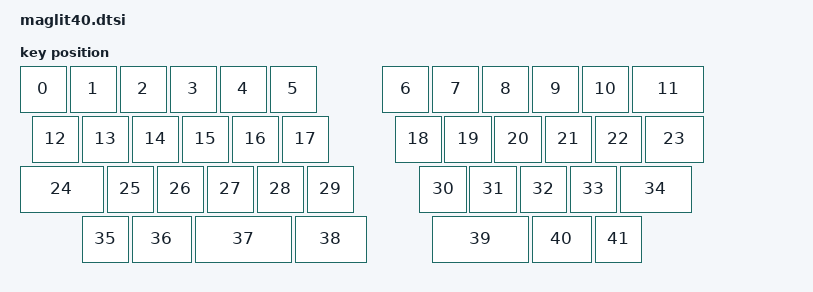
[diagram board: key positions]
#include <dt-bindings/zmk/matrix_transform.h>
#include <physical_layouts.dtsi>
#include <dt-bindings/led/led.h>

&pinctrl {
    spi3_default: spi3_default {
        group1 {
            psels = <NRF_PSEL(SPIM_MOSI, 1, 15)>;
        };
    };

    spi3_sleep: spi3_sleep {
        group1 {
            psels = <NRF_PSEL(SPIM_MOSI, 1, 15)>;
            low-power-enable;
        };
    };
};

&spi3 {
    compatible = "nordic,nrf-spim";
    status = "okay";

    pinctrl-0 = <&spi3_default>;
    pinctrl-1 = <&spi3_sleep>;
    pinctrl-names = "default", "sleep";

    led_strip: ws2812@0 {
        compatible = "worldsemi,ws2812-spi";

        /* SPI */
        reg = <0>; /* ignored, but necessary for SPI bindings */
        spi-max-frequency = <4000000>;

        /* WS2812 */
        chain-length = <1>; /* number of LEDs */
        spi-one-frame = <0x70>;
        spi-zero-frame = <0x40>;
        color-mapping = <LED_COLOR_ID_GREEN
                         LED_COLOR_ID_RED
                         LED_COLOR_ID_BLUE>;
    };
};

/ {
  chosen {
    zmk,battery = &vbatt;
    zmk,physical-layout = &Maglit40_physical_layout;
    zmk,underglow = &led_strip;
  };

  Maglit40_physical_layout: Maglit40_physical_layout {
    compatible = "zmk,physical-layout";
    display-name = "Maglit40 Default layout";
    transform = <&default_transform>;
    kscan = <&kscan0>;

    keys  //                     w   h    x    y     rot    rx    ry
        = <&key_physical_attrs 100 100    0    0       0     0     0>
        , <&key_physical_attrs 100 100  100    0       0     0     0>
        , <&key_physical_attrs 100 100  200    0       0     0     0>
        , <&key_physical_attrs 100 100  300    0       0     0     0>
        , <&key_physical_attrs 100 100  400    0       0     0     0>
        , <&key_physical_attrs 100 100  500    0       0     0     0>
        , <&key_physical_attrs 100 100  725    0       0     0     0>
        , <&key_physical_attrs 100 100  825    0       0     0     0>
        , <&key_physical_attrs 100 100  925    0       0     0     0>
        , <&key_physical_attrs 100 100 1025    0       0     0     0>
        , <&key_physical_attrs 100 100 1125    0       0     0     0>
        , <&key_physical_attrs 150 100 1225    0       0     0     0>
        , <&key_physical_attrs 100 100   25  100       0     0     0>
        , <&key_physical_attrs 100 100  125  100       0     0     0>
        , <&key_physical_attrs 100 100  225  100       0     0     0>
        , <&key_physical_attrs 100 100  325  100       0     0     0>
        , <&key_physical_attrs 100 100  425  100       0     0     0>
        , <&key_physical_attrs 100 100  525  100       0     0     0>
        , <&key_physical_attrs 100 100  750  100       0     0     0>
        , <&key_physical_attrs 100 100  850  100       0     0     0>
        , <&key_physical_attrs 100 100  950  100       0     0     0>
        , <&key_physical_attrs 100 100 1050  100       0     0     0>
        , <&key_physical_attrs 100 100 1150  100       0     0     0>
        , <&key_physical_attrs 125 100 1250  100       0     0     0>
        , <&key_physical_attrs 175 100    0  200       0     0     0>
        , <&key_physical_attrs 100 100  175  200       0     0     0>
        , <&key_physical_attrs 100 100  275  200       0     0     0>
        , <&key_physical_attrs 100 100  375  200       0     0     0>
        , <&key_physical_attrs 100 100  475  200       0     0     0>
        , <&key_physical_attrs 100 100  575  200       0     0     0>
        , <&key_physical_attrs 100 100  800  200       0     0     0>
        , <&key_physical_attrs 100 100  900  200       0     0     0>
        , <&key_physical_attrs 100 100 1000  200       0     0     0>
        , <&key_physical_attrs 100 100 1100  200       0     0     0>
        , <&key_physical_attrs 150 100 1200  200       0     0     0>
        , <&key_physical_attrs 100 100  125  300       0     0     0>
        , <&key_physical_attrs 125 100  225  300       0     0     0>
        , <&key_physical_attrs 200 100  350  300       0     0     0>
        , <&key_physical_attrs 150 100  550  300       0     0     0>
        , <&key_physical_attrs 200 100  825  300       0     0     0>
        , <&key_physical_attrs 125 100 1025  300       0     0     0>
        , <&key_physical_attrs 100 100 1150  300       0     0     0>
        ;
    };

  kscan0: kscan {
    compatible = "zmk,kscan-gpio-matrix";
    diode-direction = "col2row";
    wakeup-source;
  };

  vbatt: vbatt {
    compatible = "zmk,battery-voltage-divider";
    io-channels = <&adc 7>;
    output-ohms = <510000>;
    full-ohms = <(510000 + 1000000)>;
    power-gpios = <&gpio0 14 (GPIO_OPEN_DRAIN | GPIO_ACTIVE_LOW)>;
  };
};

&gpio0 {
    fastbatcharge: fast-battery-charge {
        gpio-hog;
        gpios = <13 GPIO_ACTIVE_HIGH>;
        output-low;
        line-name = "Fast Battery Charge";
    };
};


